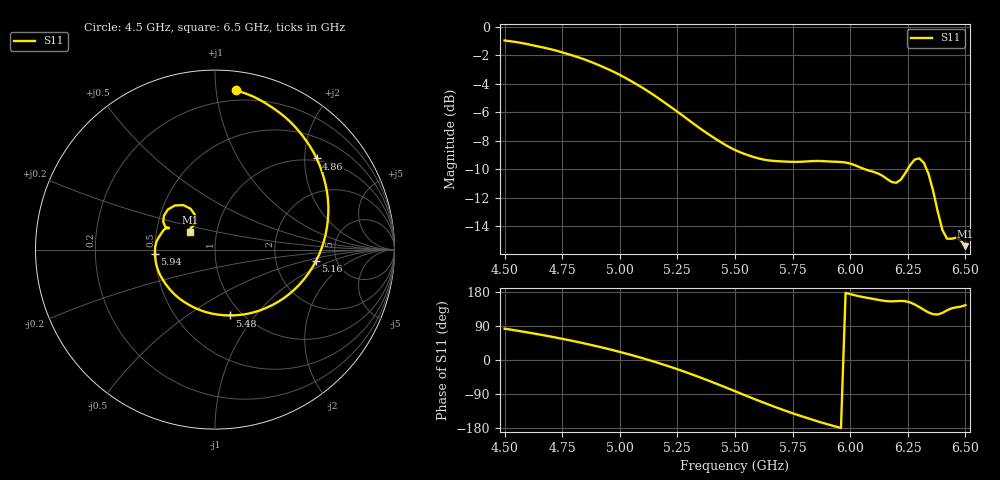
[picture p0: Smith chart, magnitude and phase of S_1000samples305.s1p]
! TOUCHSTONE file generated by CST MICROWAVE STUDIO
! Date and time: Thu Oct 27 17:14:55 2022
! Project name: L.cst
! Parameters = {Di=1.27; Epsilon_r=1.56; InnerDiameter=1.27; Length=2; Lf=10; Lg=60; OuterConductorThickness=0.2921; OuterDiameter=3.6; Wf=3; Wp=41.2; de=1.5; df=6.8; g=0.8; gx=4.28773; gy=2.66731; h=2.34; hf=1.524; px=14.694; py=9.31583; w=9.7; wx=10.4062; wy=6.64852}
! Header version: 2018
! Port assignment regex: !\s*Touchstone port\s*([0-9]+)\s*=\s*(CST MWS port|CST DS port)\s*([0-9]+|Zmin|Zmax)\s*\(\"(.*)\"\)(\s*mode\s*([0-9]+))?.*
! Touchstone port assignment:
! Touchstone port 1 = CST MWS port 1 ("")
# GHz S DB R 50
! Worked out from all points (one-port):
!   101 points, 4.5 GHz to 6.5 GHz, reference 50 ohm
!   lowest |S11| = -15.4 dB at 6.5 GHz (marker M1), VSWR 1.41, Z = 37.2 + j7.5 ohm
!   |S11| at or under -10 dB: 6.061 GHz to 6.25 GHz (188.4 MHz wide, 3.06 % of centre); 6.331 GHz to end of sweep
!   S11 on the Smith chart (normalised r, x): 4.5 GHz: 0.13, +1.13; 4.86 GHz: 0.95, +2.28; 5.16 GHz: 3.48, -0.65; 5.48 GHz: 0.88, -0.75; 5.94 GHz: 0.50, -0.03; 6.5 GHz: 0.74, +0.15
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4.5  -0.96 82.6
4.64  -1.36 68.5
4.76  -1.85 54.7
4.86  -2.38 41.9
4.94  -2.91 30.5
5  -3.38 21.3
5.08  -4.11 8.1
5.16  -4.94 -6.5
5.26  -6.09 -26.5
5.38  -7.50 -53.2
5.48  -8.50 -77.4
5.5  -8.66 -82.3
5.64  -9.38 -116.2
5.76  -9.50 -142.6
5.86  -9.43 -162.1
5.94  -9.49 -176.1
6  -9.61 173.9
6.12  -10.30 158.9
6.2  -10.97 155.3
6.24  -10.27 155.1
6.26  -9.73 152.0
6.3  -9.25 139.7
6.34  -10.34 125.5
6.38  -12.99 120.1
6.4  -14.27 124.2
6.42  -14.89 131.0
6.46  -14.83 139.0
6.5  -15.42 144.7
